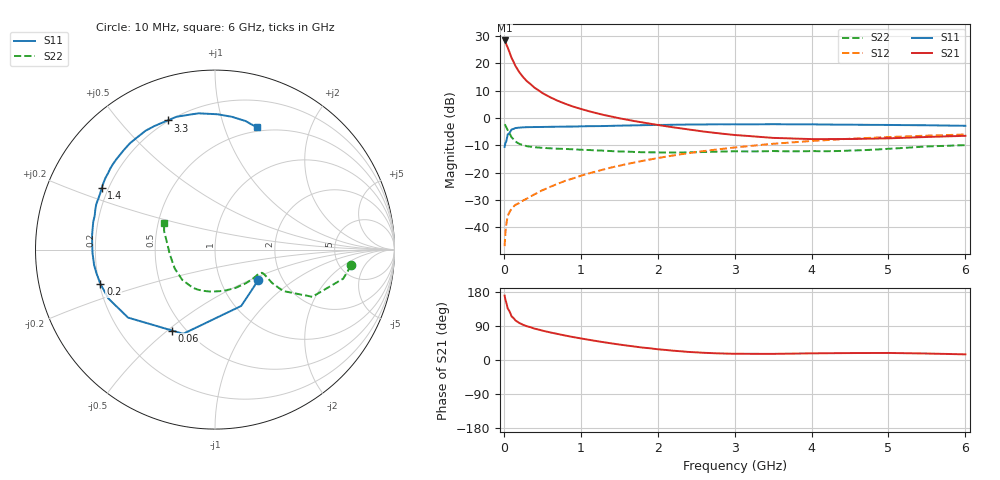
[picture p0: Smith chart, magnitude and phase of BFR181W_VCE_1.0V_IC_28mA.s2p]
! Infineon Technologies  Discrete & RF Semiconductors
! BFR181W
! VCE =  1.0 V,  IC =  28 mA
! Common Emitter S-Parameters:  Jan 2017
# GHz  S  MA  R  50
!  f  S11  S21  S12  S22
! GHz  MAG  ANG  MAG  ANG  MAG  ANG  MAG  ANG
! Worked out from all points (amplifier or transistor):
!   77 points, 10 MHz to 6 GHz, reference 50 ohm
!   highest |S21| = 28.4 dB at 10 MHz (marker M1)
!   |S21| within 3 dB of that: start of sweep to 55.88 MHz
!   unconditionally stable (mu >= 1): start of sweep to 19.5 MHz; 160.1 MHz to end of sweep
!   at 130 MHz: K = 0.89, MSG = 26.4 dB, |S12| = -32.4 dB
!   at 2.2 GHz: K = 1.43, MAG = 1.3 dB, |S12| = -13.7 dB
!   at 6 GHz: K = 1.26, MAG = -3.3 dB, |S12| = -6.0 dB
!   S11 on the Smith chart (normalised r, x): 10 MHz: 1.51, -0.57; 60 MHz: 0.43, -0.52; 200 MHz: 0.20, -0.14; 1.4 GHz: 0.17, +0.25; 3.3 GHz: 0.20, +0.68; 6 GHz: 0.46, +1.29
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0.01  0.2953 -35.5  26.27 170.1  0.0045 64.6  0.7642 -6.6
0.02  0.3462 -65.0  25.02 159.3  0.0079 69.8  0.7322 -12.8
0.05  0.5014 -110.7  19.51 136.0  0.0162 53.6  0.602 -25.9
0.06  0.5103 -117.9  17.98 133.1  0.0173 51.7  0.5703 -26.7
0.1  0.6151 -142.0  12.61 115.1  0.0218 46.1  0.445 -31.3
0.15  0.6541 -155.5  9.019 104.7  0.0257 46.2  0.3714 -30.4
0.2  0.6661 -163.4  6.927 97.8  0.0277 47.2  0.3362 -28.6
0.25  0.6737 -168.8  5.614 92.9  0.0309 50.7  0.3176 -27.4
0.3  0.679 -172.8  4.711 89.0  0.0335 54.1  0.3046 -26.5
0.4  0.6829 -178.6  3.575 82.7  0.0401 59.3  0.2916 -26.3
0.5  0.6852 177.0  2.87 77.6  0.0474 62.6  0.2843 -27.5
0.6  0.6894 173.4  2.406 72.9  0.0547 65.1  0.2786 -29.3
0.8  0.6958 167.1  1.816 64.4  0.0709 69.6  0.2708 -33.7
1.1  0.7083 159.0  1.337 53.5  0.0964 71.6  0.2593 -42.8
1.4  0.7184 151.5  1.062 43.8  0.1245 71.9  0.2475 -53.5
1.7  0.7324 144.4  0.876 35.5  0.1535 70.8  0.2388 -65.7
2.1  0.7478 135.1  0.71 26.6  0.1949 67.7  0.2329 -83.5
3.1  0.7657 114.1  0.477 16.4  0.2978 56.2  0.2447 -124.0
3.3  0.7663 110.1  0.454 16.3  0.317 53.7  0.2449 -130.7
4.1  0.7616 95.4  0.411 17.7  0.3867 43.3  0.2467 -158.7
5.1  0.7432 81.5  0.429 18.3  0.4528 31.0  0.2779 168.2
6  0.7199 71.2  0.472 14.9  0.4991 21.2  0.3187 152.7
